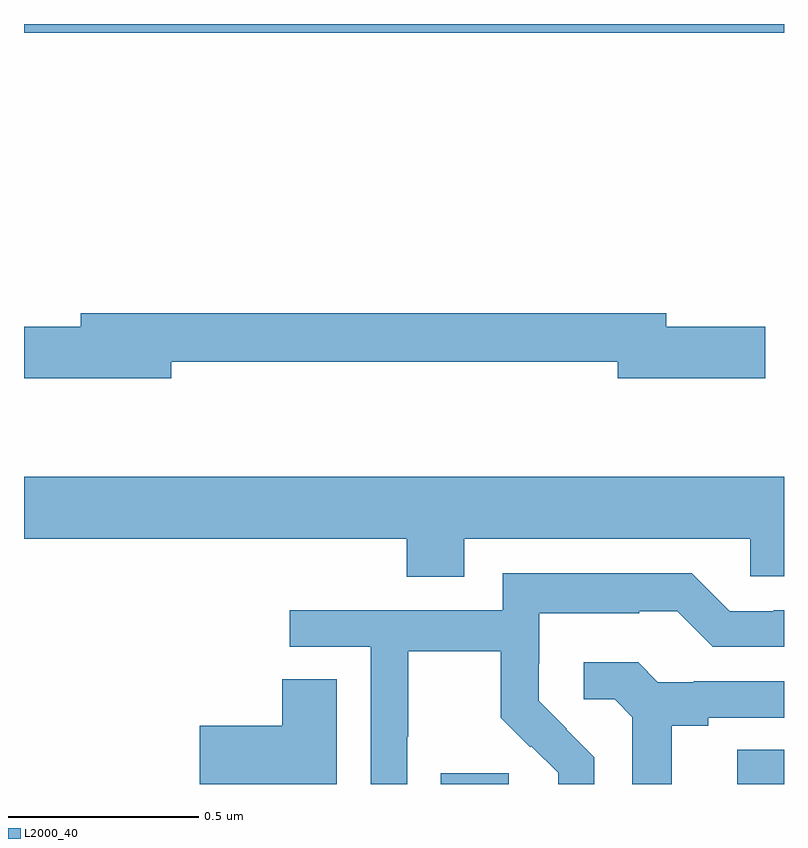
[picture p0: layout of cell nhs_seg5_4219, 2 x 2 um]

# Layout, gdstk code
import gdstk
lib = gdstk.Library(unit=1e-6, precision=1e-09)
def R(c, l, rs):  # rectangles x0, y0, x1, y1
    for r in rs: c.add(gdstk.rectangle(r[:2], r[2:], *l))
def P(c, l, *ps):  # polygons
    for p in ps: c.add(gdstk.Polygon(p, *l))
L2000_40 = (2000, 40)

nhs_seg5_4219 = lib.new_cell('nhs_seg5_4219')
R(nhs_seg5_4219, L2000_40, [(169.097,838.799,169.276,838.827), (169.877,838.799,170,838.889), (168,840.776,170,840.799)])
P(nhs_seg5_4219, L2000_40, [(168.388,839.91),(169.562,839.91),(169.562,839.867),(169.951,839.867),(169.951,840.002),(169.69,840.002),(169.69,840.038),(168.149,840.038),(168.149,840.002),(168,840.002),(168,839.867),(168.388,839.867)],
  [(169.159,839.444),(169.911,839.444),(169.911,839.346),(170,839.346),(170,839.608),(168,839.608),(168,839.444),(169.007,839.444),(169.007,839.345),(169.159,839.345)],
  [(169.008,838.924),(169.011,838.924),(169.011,839.148),(169.255,839.148),(169.255,838.973),(169.332,838.896),(169.335,838.899),(169.406,838.829),(169.406,838.799),(169.5,838.799),(169.5,838.87),(169.427,838.943),(169.428,838.944),(169.354,839.018),(169.354,839.115),(169.356,839.115),(169.356,839.249),(169.619,839.249),(169.619,839.253),(169.719,839.253),(169.812,839.16),(170,839.16),(170,839.256),(169.973,839.256),(169.973,839.253),(169.857,839.253),(169.757,839.353),(169.26,839.353),(169.26,839.256),(168.699,839.256),(168.699,839.16),(168.912,839.16),(168.912,838.799),(169.008,838.799)],
  [(169.705,838.952),(169.801,838.952),(169.801,838.974),(170,838.974),(170,839.07),(169.762,839.07),(169.762,839.067),(169.668,839.067),(169.616,839.119),(169.473,839.119),(169.473,839.022),(169.554,839.022),(169.601,838.975),(169.601,838.799),(169.705,838.799)],
  [(168.823,839.075),(168.68,839.075),(168.68,838.952),(168.462,838.952),(168.462,838.799),(168.823,838.799)])

lib.write_gds('nhs_seg5_4219.gds')
